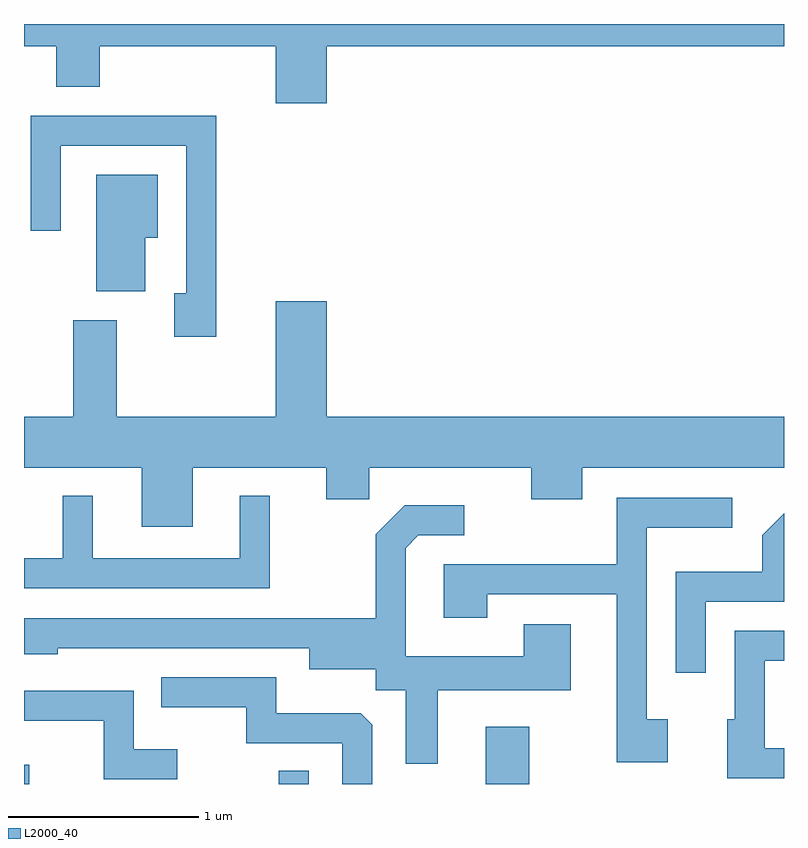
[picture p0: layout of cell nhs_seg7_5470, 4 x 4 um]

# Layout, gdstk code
import gdstk
lib = gdstk.Library(unit=1e-6, precision=1e-09)
def R(c, l, rs):  # rectangles x0, y0, x1, y1
    for r in rs: c.add(gdstk.rectangle(r[:2], r[2:], *l))
def P(c, l, *ps):  # polygons
    for p in ps: c.add(gdstk.Polygon(p, *l))
L2000_40 = (2000, 40)

nhs_seg7_5470 = lib.new_cell('nhs_seg7_5470')
R(nhs_seg7_5470, L2000_40, [(353.611,1668.252,353.639,1668.354), (354.951,1668.252,355.109,1668.323), (356.041,1668.252,356.269,1668.554)])
P(nhs_seg7_5470, L2000_40, [(355.204,1672.136),(357.611,1672.136),(357.611,1672.252),(353.611,1672.252),(353.611,1672.136),(353.781,1672.136),(353.781,1671.921),(354.009,1671.921),(354.009,1672.136),(354.936,1672.136),(354.936,1671.836),(355.204,1671.836)],
  [(354.624,1671.769),(353.646,1671.769),(353.646,1671.163),(353.804,1671.163),(353.804,1671.611),(354.466,1671.611),(354.466,1670.834),(354.401,1670.834),(354.401,1670.606),(354.624,1670.606)],
  [(354.249,1671.126),(354.314,1671.126),(354.314,1671.459),(353.991,1671.459),(353.991,1670.846),(354.249,1670.846)],
  [(355.201,1669.751),(355.429,1669.751),(355.429,1669.916),(356.281,1669.916),(356.281,1669.751),(356.549,1669.751),(356.549,1669.916),(357.611,1669.916),(357.611,1670.184),(355.204,1670.184),(355.204,1670.794),(354.936,1670.794),(354.936,1670.184),(354.099,1670.184),(354.099,1670.694),(353.871,1670.694),(353.871,1670.184),(353.611,1670.184),(353.611,1669.916),(354.231,1669.916),(354.231,1669.606),(354.499,1669.606),(354.499,1669.916),(355.201,1669.916)],
  [(354.904,1669.768),(354.746,1669.768),(354.746,1669.439),(353.974,1669.439),(353.974,1669.768),(353.816,1669.768),(353.816,1669.439),(353.611,1669.439),(353.611,1669.281),(354.904,1669.281)],
  [(356.999,1668.594),(356.889,1668.594),(356.889,1669.601),(357.338,1669.601),(357.338,1669.759),(356.731,1669.759),(356.731,1669.409),(355.821,1669.409),(355.821,1669.126),(356.049,1669.126),(356.049,1669.251),(356.731,1669.251),(356.731,1668.366),(356.999,1668.366)],
  [(355.789,1668.746),(356.489,1668.746),(356.489,1669.094),(356.241,1669.094),(356.241,1668.924),(355.619,1668.924),(355.619,1669.494),(355.687,1669.561),(355.928,1669.561),(355.928,1669.719),(355.614,1669.719),(355.461,1669.567),(355.461,1669.124),(353.611,1669.124),(353.611,1668.936),(353.789,1668.936),(353.789,1668.966),(355.111,1668.966),(355.111,1668.856),(355.461,1668.856),(355.461,1668.746),(355.621,1668.746),(355.621,1668.358),(355.789,1668.358)],
  [(357.199,1669.211),(357.611,1669.211),(357.611,1669.676),(357.496,1669.562),(357.496,1669.369),(357.041,1669.369),(357.041,1668.838),(357.199,1668.838)],
  [(357.611,1668.439),(357.509,1668.439),(357.509,1668.901),(357.611,1668.901),(357.611,1669.059),(357.351,1669.059),(357.351,1668.594),(357.311,1668.594),(357.311,1668.281),(357.611,1668.281)],
  [(355.444,1668.564),(355.384,1668.624),(354.939,1668.624),(354.939,1668.814),(354.333,1668.814),(354.333,1668.656),(354.781,1668.656),(354.781,1668.466),(355.286,1668.466),(355.286,1668.252),(355.444,1668.252)],
  [(354.418,1668.434),(354.189,1668.434),(354.189,1668.744),(353.611,1668.744),(353.611,1668.586),(354.031,1668.586),(354.031,1668.276),(354.418,1668.276)])

lib.write_gds('nhs_seg7_5470.gds')
